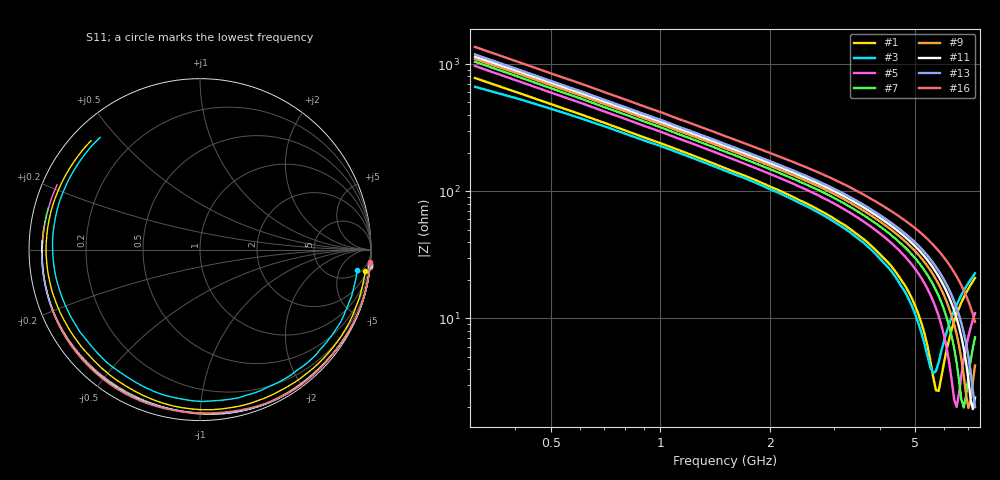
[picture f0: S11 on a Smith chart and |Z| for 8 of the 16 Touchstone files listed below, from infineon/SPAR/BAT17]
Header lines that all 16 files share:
! Infineon Technologies  Discrete & RF Semiconductors
! BAT17
! One-Port S-Parameters
# Hz  S  MA  R  50
!f  S11
!Hz  Mag  Ang
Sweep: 309.9 MHz to 7.306 GHz
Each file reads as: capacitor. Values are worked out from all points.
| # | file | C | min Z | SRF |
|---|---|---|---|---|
| 1 | BAT17_IAC_0.01mA.s1p | 662 fF | 2.7 ohm | 5.761 GHz |
| 2 | BAT17_IAC_0.02mA.s1p | 718 fF | 3.17 ohm | 5.678 GHz |
| 3 | BAT17_IAC_0.03mA.s1p | 796 fF | 3.72 ohm | 5.624 GHz |
| 4 | BAT17_IAC_0.04mA.s1p | 898 fF | 4.24 ohm | 5.583 GHz |
| 5 | BAT17_VCA_0.1V.s1p | 530 fF | 2.02 ohm | 6.491 GHz |
| 6 | BAT17_VCA_0.2V.s1p | 508 fF | 2.09 ohm | 6.655 GHz |
| 7 | BAT17_VCA_0.3V.s1p | 491 fF | 1.99 ohm | 6.794 GHz |
| 8 | BAT17_VCA_0.4V.s1p | 476 fF | 1.97 ohm | 6.919 GHz |
| 9 | BAT17_VCA_0.5V.s1p | 464 fF | 1.98 ohm | 7.025 GHz |
| 10 | BAT17_VCA_0.6V.s1p | 452 fF | 1.95 ohm | 7.12 GHz |
| 11 | BAT17_VCA_0.7V.s1p | 445 fF | 1.94 ohm | 7.206 GHz |
| 12 | BAT17_VCA_0.8V.s1p | 437 fF | 1.97 ohm | 7.281 GHz |
| 13 | BAT17_VCA_0.9V.s1p | 432 fF | 2.01 ohm | - |
| 14 | BAT17_VCA_1V.s1p | 426 fF | 2.37 ohm | - |
| 15 | BAT17_VCA_2V.s1p | 391 fF | 6.93 ohm | - |
| 16 | BAT17_VCA_3V.s1p | 377 fF | 9.42 ohm | - |
